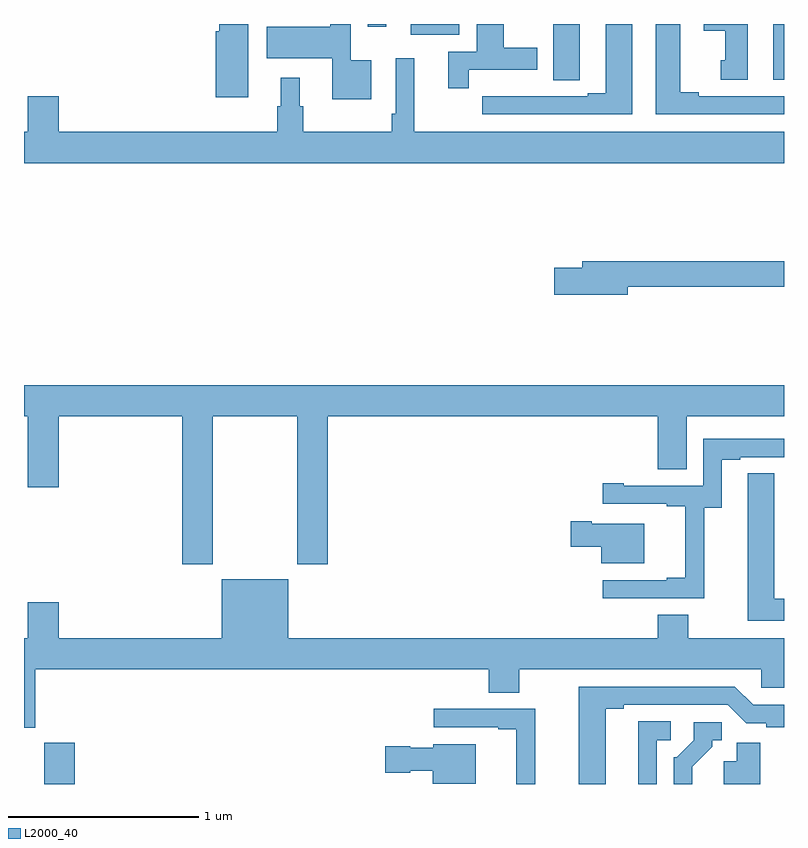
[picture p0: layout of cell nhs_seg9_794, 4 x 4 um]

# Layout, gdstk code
import gdstk
lib = gdstk.Library(unit=1e-6, precision=1e-09)
def R(c, l, rs):  # rectangles x0, y0, x1, y1
    for r in rs: c.add(gdstk.rectangle(r[:2], r[2:], *l))
def P(c, l, *ps):  # polygons
    for p in ps: c.add(gdstk.Polygon(p, *l))
L2000_40 = (2000, 40)

nhs_seg9_794 = lib.new_cell('nhs_seg9_794')
R(nhs_seg9_794, L2000_40, [(153.106,1178.5,153.266,1178.716), (156.944,1182.207,157,1182.5), (155.036,1182.443,155.29,1182.5), (154.809,1182.486,154.906,1182.5)])
P(nhs_seg9_794, L2000_40, [(154.18,1182.5),(154.028,1182.5),(154.028,1182.462),(154.01,1182.462),(154.01,1182.114),(154.18,1182.114)],
  [(155.342,1182.258),(155.701,1182.258),(155.701,1182.375),(155.524,1182.375),(155.524,1182.5),(155.384,1182.5),(155.384,1182.354),(155.234,1182.354),(155.234,1182.162),(155.342,1182.162)],
  [(156.202,1182.5),(156.062,1182.5),(156.062,1182.135),(155.966,1182.135),(155.966,1182.12),(155.69,1182.12),(155.69,1182.121),(155.524,1182.121),(155.524,1182.12),(155.412,1182.12),(155.412,1182.024),(156.202,1182.024)],
  [(157,1182.12),(156.55,1182.12),(156.55,1182.14),(156.454,1182.14),(156.454,1182.5),(156.326,1182.5),(156.326,1182.024),(157,1182.024)],
  [(154.828,1182.31),(154.719,1182.31),(154.719,1182.5),(154.611,1182.5),(154.611,1182.486),(154.278,1182.486),(154.278,1182.32),(154.622,1182.32),(154.622,1182.104),(154.828,1182.104)],
  [(156.808,1182.5),(156.578,1182.5),(156.578,1182.464),(156.692,1182.464),(156.692,1182.309),(156.668,1182.309),(156.668,1182.207),(156.808,1182.207)],
  [(155.925,1182.313),(155.926,1182.313),(155.926,1182.5),(155.786,1182.5),(155.786,1182.205),(155.925,1182.205)],
  [(157,1181.932),(155.054,1181.932),(155.054,1182.319),(154.956,1182.319),(154.956,1182.028),(154.936,1182.028),(154.936,1181.932),(154.469,1181.932),(154.469,1182.066),(154.45,1182.066),(154.45,1182.217),(154.352,1182.217),(154.352,1182.066),(154.333,1182.066),(154.333,1181.932),(153.184,1181.932),(153.184,1182.121),(153.02,1182.121),(153.02,1181.932),(153,1181.932),(153,1181.768),(157,1181.768)],
  [(156.178,1181.116),(157,1181.116),(157,1181.252),(155.939,1181.252),(155.939,1181.216),(155.79,1181.216),(155.79,1181.074),(156.178,1181.074)],
  [(153.993,1180.436),(154.438,1180.436),(154.438,1179.657),(154.598,1179.657),(154.598,1180.436),(156.335,1180.436),(156.335,1180.156),(156.487,1180.156),(156.487,1180.436),(157,1180.436),(157,1180.6),(153,1180.6),(153,1180.436),(153.02,1180.436),(153.02,1180.062),(153.184,1180.062),(153.184,1180.436),(153.833,1180.436),(153.833,1179.657),(153.993,1179.657)],
  [(156.579,1179.955),(156.673,1179.955),(156.673,1180.206),(156.769,1180.206),(156.769,1180.221),(157,1180.221),(157,1180.317),(156.576,1180.317),(156.576,1180.071),(156.157,1180.071),(156.157,1180.084),(156.045,1180.084),(156.045,1179.975),(156.383,1179.975),(156.383,1179.963),(156.479,1179.963),(156.479,1179.586),(156.383,1179.586),(156.383,1179.573),(156.045,1179.573),(156.045,1179.477),(156.579,1179.477)],
  [(157,1179.476),(156.949,1179.476),(156.949,1180.136),(156.81,1180.136),(156.81,1180.028),(156.809,1180.028),(156.809,1179.36),(157,1179.36)],
  [(156.265,1179.871),(155.989,1179.871),(155.989,1179.884),(155.877,1179.884),(155.877,1179.749),(156.038,1179.749),(156.038,1179.662),(156.265,1179.662)],
  [(153.058,1179.104),(155.447,1179.104),(155.447,1178.98),(155.607,1178.98),(155.607,1179.104),(156.879,1179.104),(156.879,1179.006),(157,1179.006),(157,1179.268),(156.495,1179.268),(156.495,1179.392),(156.335,1179.392),(156.335,1179.268),(154.39,1179.268),(154.39,1179.577),(154.04,1179.577),(154.04,1179.268),(153.184,1179.268),(153.184,1179.457),(153.02,1179.457),(153.02,1179.268),(153,1179.268),(153,1178.795),(153.058,1178.795)],
  [(156.061,1178.896),(156.157,1178.896),(156.157,1178.916),(156.705,1178.916),(156.801,1178.82),(156.906,1178.82),(156.906,1178.8),(157,1178.8),(157,1178.916),(156.837,1178.916),(156.741,1179.012),(155.921,1179.012),(155.921,1178.5),(156.061,1178.5)],
  [(155.691,1178.895),(155.157,1178.895),(155.157,1178.799),(155.495,1178.799),(155.495,1178.787),(155.591,1178.787),(155.591,1178.5),(155.691,1178.5)],
  [(156.33,1178.73),(156.403,1178.73),(156.403,1178.831),(156.233,1178.831),(156.233,1178.5),(156.33,1178.5)],
  [(156.517,1178.59),(156.622,1178.695),(156.622,1178.73),(156.672,1178.73),(156.672,1178.826),(156.525,1178.826),(156.525,1178.73),(156.435,1178.64),(156.42,1178.64),(156.42,1178.5),(156.517,1178.5)],
  [(156.874,1178.718),(156.752,1178.718),(156.752,1178.62),(156.683,1178.62),(156.683,1178.5),(156.874,1178.5)],
  [(155.377,1178.71),(155.154,1178.71),(155.154,1178.692),(155.034,1178.692),(155.034,1178.7),(154.902,1178.7),(154.902,1178.558),(155.034,1178.558),(155.034,1178.57),(155.15,1178.57),(155.15,1178.501),(155.377,1178.501)])

lib.write_gds('nhs_seg9_794.gds')
